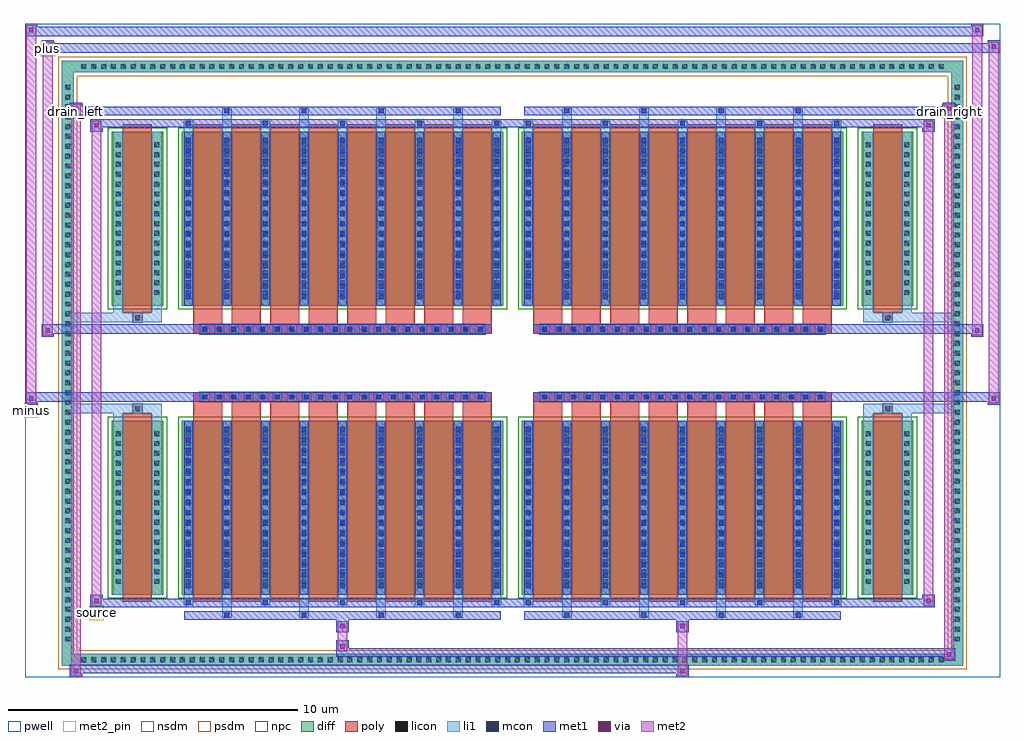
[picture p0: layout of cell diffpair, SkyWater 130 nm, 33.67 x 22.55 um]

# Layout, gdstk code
import gdstk
lib = gdstk.Library(unit=1e-6, precision=5e-09)
def R(c, l, rs):  # rectangles x0, y0, x1, y1
    for r in rs: c.add(gdstk.rectangle(r[:2], r[2:], *l))
def A(c, l, x, y, w, h, nx, ny, dx, dy):  # array of equal rectangles
    R(c, l, [(x+i*dx, y+j*dy, x+i*dx+w, y+j*dy+h) for i in range(nx) for j in range(ny)])
def P(c, l, *ps):  # polygons
    for p in ps: c.add(gdstk.Polygon(p, *l))
pwell = (64, 44)
diff = (65, 20)
poly = (66, 20)
licon = (66, 44)
li1 = (67, 20)
mcon = (67, 44)
met1 = (68, 20)
via = (68, 44)
met2_pin = (69, 16)
met2 = (69, 20)
nsdm = (93, 44)
psdm = (94, 20)
npc = (95, 20)

diffpair = lib.new_cell('diffpair')
R(diffpair, pwell, [(-16.82,-10.84,16.82,11.71), (-14.14,-9.03,-0.01,-0.805), (0.01,-9.03,14.14,-0.805), (-14.14,0.805,-0.01,9.03), (0.01,0.805,14.14,9.03)])
A(diffpair, diff, -14.995, -10.44, 0.41, 0.41, 88, 2, 0.34, 20.47)
A(diffpair, diff, -15.55, -9.725, 0.41, 0.41, 1, 57, 0, 0.34)
A(diffpair, diff, 15.14, -9.725, 0.41, 0.41, 1, 57, 0, 0.34)
R(diffpair, diff, [(-14.995,-10.44,14.995,-10.03), (-15.55,-9.725,-15.14,9.725), (15.14,-9.725,15.55,9.725), (-13.83,-7.985,-12.05,-1.985), (-11.41,-7.985,-0.32,-1.985), (0.32,-7.985,11.41,-1.985), (12.05,-7.985,13.83,-1.985), (-13.83,1.985,-12.05,7.985), (-11.41,1.985,-0.32,7.985), (0.32,1.985,11.41,7.985), (12.05,1.985,13.83,7.985), (-14.995,10.03,14.995,10.44)])
P(diffpair, diff, [(15.55,10.44),(-15.55,10.44),(-15.55,-10.03),(-15.14,-10.03),(-15.14,10.03),(15.14,10.03),(15.14,-10.03),(-15.14,-10.03),(-15.55,-10.03),(-15.55,-10.44),(15.55,-10.44)])
A(diffpair, poly, -11.02, -8.235, 1, 6.5, 8, 2, 1.33, 9.97)
A(diffpair, poly, 0.71, -8.235, 1, 6.5, 8, 2, 1.33, 9.97)
A(diffpair, poly, -11.02, -1.735, 1, 0.4, 8, 2, 1.33, 3.07)
A(diffpair, poly, 0.71, -1.735, 1, 0.4, 8, 2, 1.33, 3.07)
A(diffpair, poly, -10.78, -1.335, 0.33, 0.33, 20, 2, 0.5, 2.34)
A(diffpair, poly, 0.95, -1.335, 0.33, 0.33, 20, 2, 0.5, 2.34)
R(diffpair, poly, [(-13.44,-8.235,-12.44,-1.735), (12.44,-8.235,13.44,-1.735), (-13.105,-1.735,-12.775,-1.405), (-13.105,-1.735,-12.775,-1.405), (12.775,-1.735,13.105,-1.405), (12.775,-1.735,13.105,-1.405), (-11.02,-1.335,-0.71,-1.005), (0.71,-1.335,11.02,-1.005), (-11.02,1.005,-0.71,1.335), (0.71,1.005,11.02,1.335), (-13.105,1.405,-12.775,1.735), (-13.105,1.405,-12.775,1.735), (12.775,1.405,13.105,1.735), (12.775,1.405,13.105,1.735), (-13.44,1.735,-12.44,8.235), (12.44,1.735,13.44,8.235)])
A(diffpair, licon, -14.875, -10.32, 0.17, 0.17, 88, 2, 0.34, 20.47)
A(diffpair, licon, -15.43, -9.605, 0.17, 0.17, 1, 57, 0, 0.34)
A(diffpair, licon, 15.26, -9.605, 0.17, 0.17, 1, 57, 0, 0.34)
A(diffpair, licon, -13.69, -7.62, 0.17, 0.17, 1, 16, 0, 0.34)
A(diffpair, licon, -12.36, -7.62, 0.17, 0.17, 1, 16, 0, 0.34)
A(diffpair, licon, -11.27, -7.62, 0.17, 0.17, 9, 16, 1.33, 0.34)
A(diffpair, licon, 0.46, -7.62, 0.17, 0.17, 9, 16, 1.33, 0.34)
A(diffpair, licon, 12.19, -7.62, 0.17, 0.17, 1, 16, 0, 0.34)
A(diffpair, licon, 13.52, -7.62, 0.17, 0.17, 1, 16, 0, 0.34)
A(diffpair, licon, -10.7, -1.255, 0.17, 0.17, 20, 2, 0.5, 2.34)
A(diffpair, licon, 1.03, -1.255, 0.17, 0.17, 20, 2, 0.5, 2.34)
A(diffpair, licon, -13.69, 2.35, 0.17, 0.17, 1, 16, 0, 0.34)
A(diffpair, licon, -12.36, 2.35, 0.17, 0.17, 1, 16, 0, 0.34)
A(diffpair, licon, -11.27, 2.35, 0.17, 0.17, 9, 16, 1.33, 0.34)
A(diffpair, licon, 0.46, 2.35, 0.17, 0.17, 9, 16, 1.33, 0.34)
A(diffpair, licon, 12.19, 2.35, 0.17, 0.17, 1, 16, 0, 0.34)
A(diffpair, licon, 13.52, 2.35, 0.17, 0.17, 1, 16, 0, 0.34)
R(diffpair, licon, [(-13.025,-1.655,-12.855,-1.485), (12.855,-1.655,13.025,-1.485), (-13.025,1.485,-12.855,1.655), (12.855,1.485,13.025,1.655)])
A(diffpair, li1, -14.955, -10.4, 0.33, 0.33, 88, 2, 0.34, 20.47)
A(diffpair, li1, -15.51, -9.685, 0.33, 0.33, 1, 57, 0, 0.34)
A(diffpair, li1, 15.18, -9.685, 0.33, 0.33, 1, 57, 0, 0.34)
A(diffpair, li1, -10.02, -8.79, 0.33, 0.805, 4, 2, 2.66, 16.775)
A(diffpair, li1, -9.94, -8.79, 0.17, 0.17, 4, 2, 2.66, 17.41)
A(diffpair, li1, 1.71, -8.79, 0.33, 0.805, 4, 2, 2.66, 16.775)
A(diffpair, li1, 1.79, -8.79, 0.17, 0.17, 4, 2, 2.66, 17.41)
A(diffpair, li1, -11.35, -8.36, 0.33, 0.375, 5, 2, 2.66, 16.345)
A(diffpair, li1, -11.27, -8.36, 0.17, 0.17, 5, 2, 2.66, 16.55)
A(diffpair, li1, 0.38, -8.36, 0.33, 0.375, 5, 2, 2.66, 16.345)
A(diffpair, li1, 0.46, -8.36, 0.17, 0.17, 5, 2, 2.66, 16.55)
A(diffpair, li1, -11.35, -7.985, 0.33, 6, 9, 2, 1.33, 9.97)
A(diffpair, li1, 0.38, -7.985, 0.33, 6, 9, 2, 1.33, 9.97)
A(diffpair, li1, -11.27, -7.77, 0.17, 0.17, 9, 16, 1.33, 0.36)
A(diffpair, li1, -11.27, -7.77, 0.17, 5.57, 9, 2, 1.33, 9.97)
A(diffpair, li1, 0.46, -7.77, 0.17, 0.17, 9, 16, 1.33, 0.36)
A(diffpair, li1, 0.46, -7.77, 0.17, 5.57, 9, 2, 1.33, 9.97)
A(diffpair, li1, -13.77, -7.7, 0.33, 0.33, 1, 16, 0, 0.34)
A(diffpair, li1, -12.44, -7.7, 0.33, 0.33, 1, 16, 0, 0.34)
A(diffpair, li1, -11.35, -7.7, 0.33, 0.33, 9, 16, 1.33, 0.34)
A(diffpair, li1, 0.38, -7.7, 0.33, 0.33, 9, 16, 1.33, 0.34)
A(diffpair, li1, 12.11, -7.7, 0.33, 0.33, 1, 16, 0, 0.34)
A(diffpair, li1, 13.44, -7.7, 0.33, 0.33, 1, 16, 0, 0.34)
A(diffpair, li1, -10.78, -1.335, 0.33, 0.33, 20, 2, 0.5, 2.34)
A(diffpair, li1, 0.95, -1.335, 0.33, 0.33, 20, 2, 0.5, 2.34)
A(diffpair, li1, -11.27, 2.2, 0.17, 0.17, 9, 16, 1.33, 0.36)
A(diffpair, li1, 0.46, 2.2, 0.17, 0.17, 9, 16, 1.33, 0.36)
A(diffpair, li1, -13.77, 2.27, 0.33, 0.33, 1, 16, 0, 0.34)
A(diffpair, li1, -12.44, 2.27, 0.33, 0.33, 1, 16, 0, 0.34)
A(diffpair, li1, -11.35, 2.27, 0.33, 0.33, 9, 16, 1.33, 0.34)
A(diffpair, li1, 0.38, 2.27, 0.33, 0.33, 9, 16, 1.33, 0.34)
A(diffpair, li1, 12.11, 2.27, 0.33, 0.33, 1, 16, 0, 0.34)
A(diffpair, li1, 13.44, 2.27, 0.33, 0.33, 1, 16, 0, 0.34)
R(diffpair, li1, [(-15.55,-10.44,-15.14,-10.03), (-15.55,-10.44,-15.14,-10.03), (-15.14,-10.44,15.14,-10.03), (15.14,-10.44,15.55,-10.03), (15.14,-10.44,15.55,-10.03), (-15.55,-10.03,-15.14,10.03), (15.14,-10.03,15.55,10.03), (-13.77,-7.985,-13.44,-1.985), (-12.44,-7.985,-12.11,-1.985), (12.11,-7.985,12.44,-1.985), (13.44,-7.985,13.77,-1.985), (-13.77,-1.985,-13.44,-1.405), (-12.44,-1.985,-12.11,-1.405), (12.11,-1.985,12.44,-1.405), (13.44,-1.985,13.77,-1.405), (-15.55,-1.735,-13.105,-1.405), (-13.77,-1.735,-13.105,-1.405), (-13.105,-1.735,-12.775,-1.405), (-12.775,-1.735,-12.11,-1.405), (12.11,-1.735,12.775,-1.405), (12.775,-1.735,13.105,-1.405), (12.775,-1.735,15.55,-1.405), (13.105,-1.735,13.77,-1.405), (-15.55,1.405,-13.105,1.735), (-13.77,1.405,-13.105,1.735), (-13.77,1.405,-13.44,1.985), (-13.105,1.405,-12.775,1.735), (-12.775,1.405,-12.11,1.735), (-12.44,1.405,-12.11,1.985), (12.11,1.405,12.775,1.735), (12.11,1.405,12.44,1.985), (12.775,1.405,13.105,1.735), (12.775,1.405,15.55,1.735), (13.105,1.405,13.77,1.735), (13.44,1.405,13.77,1.985), (-13.77,1.985,-13.44,7.985), (-12.44,1.985,-12.11,7.985), (12.11,1.985,12.44,7.985), (13.44,1.985,13.77,7.985), (-15.55,10.03,-15.14,10.44), (-15.55,10.03,-15.14,10.44), (-15.14,10.03,15.14,10.44), (15.14,10.03,15.55,10.44), (15.14,10.03,15.55,10.44)])
A(diffpair, mcon, -9.94, -8.79, 0.17, 0.17, 4, 2, 2.66, 17.41)
A(diffpair, mcon, 1.79, -8.79, 0.17, 0.17, 4, 2, 2.66, 17.41)
A(diffpair, mcon, -11.27, -8.36, 0.17, 0.17, 5, 2, 2.66, 16.55)
A(diffpair, mcon, 0.46, -8.36, 0.17, 0.17, 5, 2, 2.66, 16.55)
A(diffpair, mcon, -11.27, -7.77, 0.17, 0.17, 9, 16, 1.33, 0.36)
A(diffpair, mcon, 0.46, -7.77, 0.17, 0.17, 9, 16, 1.33, 0.36)
A(diffpair, mcon, -10.7, -1.255, 0.17, 0.17, 20, 2, 0.5, 2.34)
A(diffpair, mcon, 1.03, -1.255, 0.17, 0.17, 20, 2, 0.5, 2.34)
A(diffpair, mcon, -11.27, 2.2, 0.17, 0.17, 9, 16, 1.33, 0.36)
A(diffpair, mcon, 0.46, 2.2, 0.17, 0.17, 9, 16, 1.33, 0.36)
A(diffpair, met1, -10, -8.85, 0.29, 0.29, 4, 2, 2.66, 17.41)
A(diffpair, met1, 1.73, -8.85, 0.29, 0.29, 4, 2, 2.66, 17.41)
A(diffpair, met1, -11.33, -8.42, 0.29, 0.29, 5, 2, 2.66, 16.55)
A(diffpair, met1, 0.4, -8.42, 0.29, 0.29, 5, 2, 2.66, 16.55)
A(diffpair, met1, -11.33, -7.985, 0.29, 6, 9, 2, 1.33, 9.97)
A(diffpair, met1, 0.4, -7.985, 0.29, 6, 9, 2, 1.33, 9.97)
A(diffpair, met1, -11.33, -7.83, 0.29, 0.29, 9, 16, 1.33, 0.36)
A(diffpair, met1, 0.4, -7.83, 0.29, 0.29, 9, 16, 1.33, 0.36)
A(diffpair, met1, -10.76, -1.315, 0.29, 0.29, 20, 2, 0.5, 2.34)
A(diffpair, met1, 0.97, -1.315, 0.29, 0.29, 20, 2, 0.5, 2.34)
A(diffpair, met1, -11.33, 2.14, 0.29, 0.29, 9, 16, 1.33, 0.36)
A(diffpair, met1, 0.4, 2.14, 0.29, 0.29, 9, 16, 1.33, 0.36)
R(diffpair, met1, [(-15.28,-10.84,-14.85,-10.41), (5.65,-10.84,6.08,-10.41), (-15.28,-10.7,6.08,-10.41), (14.85,-10.27,15.28,-9.84), (-6.08,-10.13,15.28,-9.84), (-6.08,-9.99,-5.65,-9.56), (-6.08,-9.28,-5.65,-8.85), (5.65,-9.28,6.08,-8.85), (-11.33,-8.85,-0.4,-8.56), (0.4,-8.85,11.33,-8.56), (-14.57,-8.42,-14.14,-7.99), (-14.57,-8.42,-11.33,-8.13), (-11.33,-8.42,-0.4,-8.13), (-0.4,-8.42,0.4,-8.13), (0.4,-8.42,11.33,-8.13), (11.33,-8.42,14.57,-8.13), (14.14,-8.42,14.57,-7.99), (-16.82,-1.435,-16.39,-1.005), (16.39,-1.435,16.82,-1.005), (-16.82,-1.335,-0.71,-1.005), (-11.02,-1.335,-0.71,-1.005), (0.71,-1.335,11.02,-1.005), (0.71,-1.335,16.82,-1.005), (-16.25,0.905,-15.82,1.335), (15.82,0.905,16.25,1.335), (-16.25,1.005,-11.02,1.335), (-11.02,1.005,-0.71,1.335), (0.71,1.005,11.02,1.335), (11.02,1.005,16.25,1.335), (-14.57,7.99,-14.14,8.42), (14.14,7.99,14.57,8.42), (-14.57,8.13,-11.33,8.42), (-11.33,8.13,-0.4,8.42), (-0.4,8.13,0.4,8.42), (0.4,8.13,11.33,8.42), (11.33,8.13,14.57,8.42), (-15.28,8.56,-14.85,8.99), (-15.28,8.56,-11.33,8.85), (-11.33,8.56,-0.4,8.85), (0.4,8.56,11.33,8.85), (11.33,8.56,15.28,8.85), (14.85,8.56,15.28,8.99), (-16.25,10.71,-15.82,11.14), (-16.25,10.71,-14.14,11.04), (-14.14,10.71,14.14,11.04), (14.14,10.71,16.82,11.04), (16.39,10.71,16.82,11.14), (-16.82,11.28,-16.39,11.71), (-16.82,11.28,-14.14,11.61), (-14.14,11.28,14.14,11.61), (14.14,11.28,16.25,11.61), (15.82,11.28,16.25,11.71)])
R(diffpair, via, [(-15.14,-10.7,-14.99,-10.55), (5.79,-10.7,5.94,-10.55), (14.99,-10.13,15.14,-9.98), (-5.94,-9.85,-5.79,-9.7), (-5.94,-9.14,-5.79,-8.99), (5.79,-9.14,5.94,-8.99), (-14.43,-8.28,-14.28,-8.13), (14.28,-8.28,14.43,-8.13), (-16.68,-1.295,-16.53,-1.145), (16.53,-1.295,16.68,-1.145), (-16.11,1.045,-15.96,1.195), (15.96,1.045,16.11,1.195), (-14.43,8.13,-14.28,8.28), (14.28,8.13,14.43,8.28), (-15.14,8.7,-14.99,8.85), (14.99,8.7,15.14,8.85), (-16.11,10.85,-15.96,11), (16.53,10.85,16.68,11), (-16.68,11.42,-16.53,11.57), (15.96,11.42,16.11,11.57)])
R(diffpair, met2_pin, [(-14.605,-8.87,-14.105,-8.37), (-16.855,-1.885,-16.355,-1.385), (-15.315,8.44,-14.815,8.94), (14.815,8.44,15.315,8.94), (-16.285,10.59,-15.785,11.09)])
R(diffpair, met2, [(-15.23,-10.79,-14.9,-10.46), (-15.23,-10.79,-14.9,8.94), (5.7,-10.79,6.03,-10.46), (5.7,-10.46,6.03,-9.23), (14.9,-10.22,15.23,-9.89), (14.9,-10.22,15.23,8.94), (-6.03,-9.94,-5.7,-9.61), (-6.03,-9.61,-5.7,-9.23), (-6.03,-9.23,-5.7,-8.9), (5.7,-9.23,6.03,-8.9), (-14.52,-8.37,-14.19,-8.04), (-14.52,-8.37,-14.19,8.37), (14.19,-8.37,14.52,-8.04), (14.19,-8.37,14.52,8.37), (-16.77,-1.385,-16.44,-1.055), (-16.77,-1.385,-16.44,11.66), (16.44,-1.385,16.77,-1.055), (16.44,-1.385,16.77,11.09), (-16.2,0.955,-15.87,1.285), (-16.2,0.955,-15.87,11.09), (15.87,0.955,16.2,1.285), (15.87,0.955,16.2,11.66), (-14.52,8.04,-14.19,8.37), (14.19,8.04,14.52,8.37), (-15.23,8.61,-14.9,8.94), (14.9,8.61,15.23,8.94), (-16.2,10.76,-15.87,11.09), (16.44,10.76,16.77,11.09), (-16.77,11.33,-16.44,11.66), (15.87,11.33,16.2,11.66)])
P(diffpair, met2, [(16.77,-1.385),(16.77,-1.385),(16.77,-1.055),(16.77,-1.055)],
  [(16.77,10.76),(16.77,10.76),(16.77,11.09),(16.77,11.09)],
  [(-16.44,-1.385),(-16.44,-1.385),(-16.44,-1.055),(-16.44,-1.055)],
  [(-16.44,11.33),(-16.44,11.33),(-16.44,11.66),(-16.44,11.66)],
  [(16.2,0.955),(16.2,0.955),(16.2,1.285),(16.2,1.285)],
  [(16.2,11.33),(16.2,11.33),(16.2,11.66),(16.2,11.66)],
  [(-15.87,0.955),(-15.87,0.955),(-15.87,1.285),(-15.87,1.285)],
  [(-15.87,10.76),(-15.87,10.76),(-15.87,11.09),(-15.87,11.09)],
  [(-14.9,-10.79),(-14.9,-10.79),(-14.9,-10.46),(-14.9,-10.46)],
  [(-14.9,8.61),(-14.9,8.61),(-14.9,8.94),(-14.9,8.94)],
  [(15.23,-10.22),(15.23,-10.22),(15.23,-9.89),(15.23,-9.89)],
  [(15.23,8.61),(15.23,8.61),(15.23,8.94),(15.23,8.94)],
  [(-14.19,-8.37),(-14.19,-8.37),(-14.19,-8.04),(-14.19,-8.04)],
  [(-14.19,8.04),(-14.19,8.04),(-14.19,8.37),(-14.19,8.37)],
  [(14.52,-8.37),(14.52,-8.37),(14.52,-8.04),(14.52,-8.04)],
  [(14.52,8.04),(14.52,8.04),(14.52,8.37),(14.52,8.37)])
R(diffpair, nsdm, [(-13.96,-8.115,-11.92,-1.855), (-11.54,-8.115,-0.19,-1.855), (0.19,-8.115,11.54,-1.855), (11.92,-8.115,13.96,-1.855), (-13.96,1.855,-11.92,8.115), (-11.54,1.855,-0.19,8.115), (0.19,1.855,11.54,8.115), (11.92,1.855,13.96,8.115)])
P(diffpair, psdm, [(15.68,10.57),(-15.68,10.57),(-15.68,-9.9),(-15.01,-9.9),(-15.01,9.9),(15.01,9.9),(15.01,-9.9),(-15.01,-9.9),(-15.68,-9.9),(-15.68,-10.57),(15.68,-10.57)])
A(diffpair, npc, -10.8, -1.355, 0.37, 0.37, 20, 2, 0.5, 2.34)
A(diffpair, npc, 0.93, -1.355, 0.37, 0.37, 20, 2, 0.5, 2.34)
R(diffpair, npc, [(-13.125,-1.755,-12.755,-1.385), (12.755,-1.755,13.125,-1.385), (-10.8,-1.355,-9.93,-0.985), (-10.8,-1.355,-9.93,-0.985), (-10.3,-1.355,-9.43,-0.985), (-10.3,-1.355,-9.43,-0.985), (-9.8,-1.355,-8.93,-0.985), (-9.8,-1.355,-8.93,-0.985), (-9.3,-1.355,-8.43,-0.985), (-9.3,-1.355,-8.43,-0.985), (-8.8,-1.355,-7.93,-0.985), (-8.8,-1.355,-7.93,-0.985), (-8.3,-1.355,-7.43,-0.985), (-8.3,-1.355,-7.43,-0.985), (-7.8,-1.355,-6.93,-0.985), (-7.8,-1.355,-6.93,-0.985), (-7.3,-1.355,-6.43,-0.985), (-7.3,-1.355,-6.43,-0.985), (-6.8,-1.355,-5.93,-0.985), (-6.8,-1.355,-5.93,-0.985), (-6.3,-1.355,-5.43,-0.985), (-6.3,-1.355,-5.43,-0.985), (-5.8,-1.355,-4.93,-0.985), (-5.8,-1.355,-4.93,-0.985), (-5.3,-1.355,-4.43,-0.985), (-5.3,-1.355,-4.43,-0.985), (-4.8,-1.355,-3.93,-0.985), (-4.8,-1.355,-3.93,-0.985), (-4.3,-1.355,-3.43,-0.985), (-4.3,-1.355,-3.43,-0.985), (-3.8,-1.355,-2.93,-0.985), (-3.8,-1.355,-2.93,-0.985), (-3.3,-1.355,-2.43,-0.985), (-3.3,-1.355,-2.43,-0.985), (-2.8,-1.355,-1.93,-0.985), (-2.8,-1.355,-1.93,-0.985), (-2.3,-1.355,-1.43,-0.985), (-2.3,-1.355,-1.43,-0.985), (-1.8,-1.355,-0.93,-0.985), (-1.8,-1.355,-0.93,-0.985), (0.93,-1.355,1.8,-0.985), (0.93,-1.355,1.8,-0.985), (1.43,-1.355,2.3,-0.985), (1.43,-1.355,2.3,-0.985), (1.93,-1.355,2.8,-0.985), (1.93,-1.355,2.8,-0.985), (2.43,-1.355,3.3,-0.985), (2.43,-1.355,3.3,-0.985), (2.93,-1.355,3.8,-0.985), (2.93,-1.355,3.8,-0.985), (3.43,-1.355,4.3,-0.985), (3.43,-1.355,4.3,-0.985), (3.93,-1.355,4.8,-0.985), (3.93,-1.355,4.8,-0.985), (4.43,-1.355,5.3,-0.985), (4.43,-1.355,5.3,-0.985), (4.93,-1.355,5.8,-0.985), (4.93,-1.355,5.8,-0.985), (5.43,-1.355,6.3,-0.985), (5.43,-1.355,6.3,-0.985), (5.93,-1.355,6.8,-0.985), (5.93,-1.355,6.8,-0.985), (6.43,-1.355,7.3,-0.985), (6.43,-1.355,7.3,-0.985), (6.93,-1.355,7.8,-0.985), (6.93,-1.355,7.8,-0.985), (7.43,-1.355,8.3,-0.985), (7.43,-1.355,8.3,-0.985), (7.93,-1.355,8.8,-0.985), (7.93,-1.355,8.8,-0.985), (8.43,-1.355,9.3,-0.985), (8.43,-1.355,9.3,-0.985), (8.93,-1.355,9.8,-0.985), (8.93,-1.355,9.8,-0.985), (9.43,-1.355,10.3,-0.985), (9.43,-1.355,10.3,-0.985), (9.93,-1.355,10.8,-0.985), (9.93,-1.355,10.8,-0.985), (-10.8,0.985,-9.93,1.355), (-10.8,0.985,-9.93,1.355), (-10.3,0.985,-9.43,1.355), (-10.3,0.985,-9.43,1.355), (-9.8,0.985,-8.93,1.355), (-9.8,0.985,-8.93,1.355), (-9.3,0.985,-8.43,1.355), (-9.3,0.985,-8.43,1.355), (-8.8,0.985,-7.93,1.355), (-8.8,0.985,-7.93,1.355), (-8.3,0.985,-7.43,1.355), (-8.3,0.985,-7.43,1.355), (-7.8,0.985,-6.93,1.355), (-7.8,0.985,-6.93,1.355), (-7.3,0.985,-6.43,1.355), (-7.3,0.985,-6.43,1.355), (-6.8,0.985,-5.93,1.355), (-6.8,0.985,-5.93,1.355), (-6.3,0.985,-5.43,1.355), (-6.3,0.985,-5.43,1.355), (-5.8,0.985,-4.93,1.355), (-5.8,0.985,-4.93,1.355), (-5.3,0.985,-4.43,1.355), (-5.3,0.985,-4.43,1.355), (-4.8,0.985,-3.93,1.355), (-4.8,0.985,-3.93,1.355), (-4.3,0.985,-3.43,1.355), (-4.3,0.985,-3.43,1.355), (-3.8,0.985,-2.93,1.355), (-3.8,0.985,-2.93,1.355), (-3.3,0.985,-2.43,1.355), (-3.3,0.985,-2.43,1.355), (-2.8,0.985,-1.93,1.355), (-2.8,0.985,-1.93,1.355), (-2.3,0.985,-1.43,1.355), (-2.3,0.985,-1.43,1.355), (-1.8,0.985,-0.93,1.355), (-1.8,0.985,-0.93,1.355), (0.93,0.985,1.8,1.355), (0.93,0.985,1.8,1.355), (1.43,0.985,2.3,1.355), (1.43,0.985,2.3,1.355), (1.93,0.985,2.8,1.355), (1.93,0.985,2.8,1.355), (2.43,0.985,3.3,1.355), (2.43,0.985,3.3,1.355), (2.93,0.985,3.8,1.355), (2.93,0.985,3.8,1.355), (3.43,0.985,4.3,1.355), (3.43,0.985,4.3,1.355), (3.93,0.985,4.8,1.355), (3.93,0.985,4.8,1.355), (4.43,0.985,5.3,1.355), (4.43,0.985,5.3,1.355), (4.93,0.985,5.8,1.355), (4.93,0.985,5.8,1.355), (5.43,0.985,6.3,1.355), (5.43,0.985,6.3,1.355), (5.93,0.985,6.8,1.355), (5.93,0.985,6.8,1.355), (6.43,0.985,7.3,1.355), (6.43,0.985,7.3,1.355), (6.93,0.985,7.8,1.355), (6.93,0.985,7.8,1.355), (7.43,0.985,8.3,1.355), (7.43,0.985,8.3,1.355), (7.93,0.985,8.8,1.355), (7.93,0.985,8.8,1.355), (8.43,0.985,9.3,1.355), (8.43,0.985,9.3,1.355), (8.93,0.985,9.8,1.355), (8.93,0.985,9.8,1.355), (9.43,0.985,10.3,1.355), (9.43,0.985,10.3,1.355), (9.93,0.985,10.8,1.355), (9.93,0.985,10.8,1.355), (-13.125,1.385,-12.755,1.755), (12.755,1.385,13.125,1.755)])
diffpair.add(gdstk.Label('minus', (-16.605,-1.635), layer=69, texttype=5))
diffpair.add(gdstk.Label('drain_right', (15.065,8.69), layer=69, texttype=5))
diffpair.add(gdstk.Label('drain_left', (-15.065,8.69), layer=69, texttype=5))
diffpair.add(gdstk.Label('source', (-14.355,-8.62), layer=69, texttype=5))
diffpair.add(gdstk.Label('plus', (-16.035,10.84), layer=69, texttype=5))

lib.write_gds('diffpair.gds')
